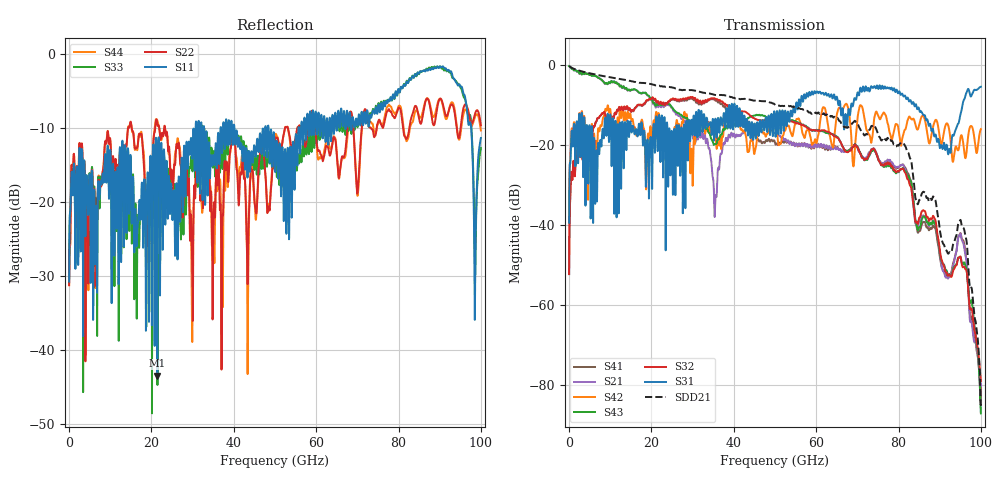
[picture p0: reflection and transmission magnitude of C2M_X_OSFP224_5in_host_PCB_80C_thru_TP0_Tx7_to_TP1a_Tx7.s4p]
# GHz S RI R 45
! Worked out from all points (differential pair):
!   4000 points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, 25 MHz to 100 GHz, reference 45 ohm
!   strongest paths, dB at 25 MHz, 25.02 GHz, 50.02 GHz, 75.03 GHz, 100 GHz:
!     S31: -39.3, -17.9, -14.5, -5.7, -5.4
!     S32: -52.2, -8.5, -14.0, -23.3, -78.9
!     S43: -0.2, -10.5, -13.8, -23.3, -87.0
!     S42: -39.3, -21.6, -13.7, -12.5, -15.9
!     S21: -0.2, -10.7, -17.0, -23.1, -79.6
!     S41: -52.2, -8.6, -19.4, -23.1, -80.4
!   taken as a pair (ports 3,1 in; 4,2 out), SDD21 dB: -0.2, -5.6, -9.9, -17.2, -84.7
!   lowest |S11| = -43.5 dB at 21.45 GHz (marker M1), VSWR 1.01, Z = 45 - j0.6 ohm
!   |S11| at or under -10 dB: start of sweep to 30.74 GHz; 40.16 GHz to 47.66 GHz (7.497 GHz wide, 17.1 % of centre); 48.44 GHz to 55.74 GHz (7.302 GHz wide, 14 % of centre)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
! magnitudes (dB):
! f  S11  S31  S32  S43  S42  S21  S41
! 25 MHz  -30.8  -39.3  -52.2  -0.2  -39.3  -0.2  -52.2
! 2.675 GHz  -14.2  -14.3  -22.3  -1.9  -13.3  -1.9  -22.3
! 21.45 GHz  -43.5  -18.2  -9.1  -9.6  -13.1  -9.8  -9.4
! 35.48 GHz  -13.2  -13.6  -8.3  -19.7  -17.1  -35.0  -8.8
! 81.28 GHz  -4.2  -7.8  -26.1  -25.9  -16.8  -25.2  -25.0
! 95.5 GHz  -4.7  -10.1  -50.3  -49.8  -18.1  -44.0  -43.6
! 100 GHz  -11.4  -5.4  -78.9  -87.0  -15.9  -79.6  -80.4
